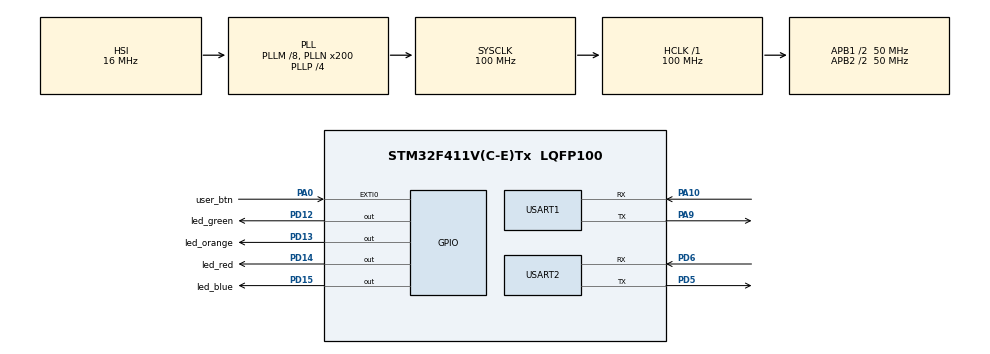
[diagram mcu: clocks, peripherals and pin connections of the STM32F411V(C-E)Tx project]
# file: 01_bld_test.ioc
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Mcu.Family=STM32F4
Mcu.Name=STM32F411V(C-E)Tx
Mcu.Package=LQFP100
NVIC.EXTI0_IRQn=true\:0\:0\:false\:true\:true\:1\:true\:true
NVIC.PriorityGroup=NVIC_PRIORITYGROUP_0
NVIC.RCC_IRQn=true\:0\:0\:false\:false\:true\:true\:false
PA0-WKUP.GPIO_Label=user_btn
PA0-WKUP.GPIO_ModeDefaultEXTI=GPIO_MODE_IT_FALLING
PA0-WKUP.Signal=GPXTI0
PA10.Mode=Asynchronous
PA10.Signal=USART1_RX
PA9.Mode=Asynchronous
PA9.Signal=USART1_TX
PD12.GPIO_Label=led_green
PD12.GPIO_Speed=GPIO_SPEED_FREQ_HIGH
PD12.Signal=GPIO_Output
PD13.GPIO_Label=led_orange
PD13.GPIO_Speed=GPIO_SPEED_FREQ_HIGH
PD13.Signal=GPIO_Output
PD14.GPIO_Label=led_red
PD14.GPIO_Speed=GPIO_SPEED_FREQ_HIGH
PD14.Signal=GPIO_Output
PD15.GPIO_Label=led_blue
PD15.GPIO_Speed=GPIO_SPEED_FREQ_HIGH
PD15.Signal=GPIO_Output
PD5.Mode=Asynchronous
PD5.Signal=USART2_TX
PD6.Mode=Asynchronous
PD6.Signal=USART2_RX
ProjectManager.HeapSize=0x200
ProjectManager.StackSize=0x400
ProjectManager.TargetToolchain=STM32CubeIDE
RCC.48MHZClocksFreq_Value=50000000
RCC.AHBFreq_Value=100000000
RCC.APB1CLKDivider=RCC_HCLK_DIV2
RCC.APB1Freq_Value=50000000
RCC.APB1TimFreq_Value=100000000
RCC.APB2CLKDivider=RCC_HCLK_DIV2
RCC.APB2Freq_Value=50000000
RCC.APB2TimFreq_Value=100000000
RCC.CortexFreq_Value=100000000
RCC.HCLKFreq_Value=100000000
RCC.HSE_VALUE=8000000
RCC.HSI_VALUE=16000000
RCC.LSE_VALUE=32768
RCC.PLLI2SM=5
RCC.PLLI2SN=200
RCC.PLLM=8
RCC.PLLN=200
RCC.PLLP=RCC_PLLP_DIV4
RCC.PLLQ=8
RCC.SYSCLKFreq_VALUE=100000000
RCC.SYSCLKSource=RCC_SYSCLKSOURCE_PLLCLK
RCC.VCOOutputFreq_Value=400000000
USART1.VirtualMode=VM_ASYNC
USART2.VirtualMode=VM_ASYNC
VP_CRC_VS_CRC.Mode=CRC_Activate
board=STM32F411E-DISCO

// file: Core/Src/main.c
/* USER CODE BEGIN Header */
/**
 ******************************************************************************
 * @file           : main.c
 * @brief          : Main program body
 ******************************************************************************
 * @attention
 *
 * Copyright (c) 2023 STMicroelectronics.
 * All rights reserved.
 *
 * This software is licensed under terms that can be found in the LICENSE file
 * in the root directory of this software component.
 * If no LICENSE file comes with this software, it is provided AS-IS.
 *
 ******************************************************************************
 */
/* USER CODE END Header */
#include "main.h"

/* USER CODE BEGIN Includes */
#include <stdarg.h>
#include <string.h>
#include <stdint.h>
#include <stdio.h>
/* USER CODE END Includes */

CRC_HandleTypeDef hcrc;

UART_HandleTypeDef huart1;
UART_HandleTypeDef huart2;

/* USER CODE BEGIN PV */
#define D_UART   &huart2
#define C_UART   &huart2

char pData[] = "this is a message from uart2\n\r";

//enable this line to get debug messages over debug uart
#define BL_DEBUG_MSG_EN

#define rc_data_length 200
uint8_t rc_data[rc_data_length];

#define BL_GET_VER 						0x51
#define BL_GET_HELP						0x52
#define BL_GET_CID						0x53
#define BL_GET_RDP_STATUS				0x54
#define BL_GO_TO_ADDR					0x55
#define BL_FLASH_ERASE					0x56
#define BBL_MEM_WRITE					0x57
#define BL_EN_R_W_PROTECT				0x58
#define BL_MEM_READ						0x59
#define BL_READ_SECTOR_STATUS			0x5A
#define BL_OTP_READ						0x5B
#define BL_DIS_R_W_PROTECT				0x5C

//#len details of the command
#define COMMAND_BL_GET_VER_LEN                              =6
#define COMMAND_BL_GET_HELP_LEN                             =6
#define COMMAND_BL_GET_CID_LEN                              =6
#define COMMAND_BL_GET_RDP_STATUS_LEN                       =6
#define COMMAND_BL_GO_TO_ADDR_LEN                           =10
#define COMMAND_BL_FLASH_ERASE_LEN                          =8
#define COMMAND_BL_MEM_WRITE_LEN                            =11
#define COMMAND_BL_EN_R_W_PROTECT_LEN                       =8
#define COMMAND_BL_READ_SECTOR_P_STATUS_LEN                 =6
#define COMMAND_BL_DIS_R_W_PROTECT_LEN                      =6
#define COMMAND_BL_MY_NEW_COMMAND_LEN                       =8

/*	CHECK CRC 	*/
#define CRC_CORRECT 	1
#define CRC_FAILED 		0

/* ACK and NACK bytes*/
#define BL_ACK   0XA5
#define BL_NACK  0X7F

//version 1.0
#define BL_VERSION 0x10

/* USER CODE END PV */

void SystemClock_Config(void);
static void MX_GPIO_Init(void);
static void MX_CRC_Init(void);
static void MX_USART2_UART_Init(void);
static void MX_USART1_UART_Init(void);
static void MX_NVIC_Init(void);
/* USER CODE BEGIN PFP */
static void printmsg(char *format, ...);
static void userMode(void);
static void bootloaderMode(void);

void BL_GET_VER_handler(void);
void BL_GET_HELP_handler(void);
void BL_GET_CID_handler(void);
void BL_GET_RDP_STATUS_handler(void);
void BL_GO_TO_ADDR_handler(void);
void BL_FLASH_ERASE_handler(void);
void BL_MEM_WRITE_handler(void);
void BL_EN_R_W_PROTECT_handler(void);
void BL_MEM_READ_handler(void);
void BL_READ_SECTOR_STATUS_handler(void);
void BL_OTP_READ_handler(void);
void BL_DIS_R_W_PROTECT_handler(void);

uint8_t checkCRC(uint8_t *pBuffer_data, uint8_t pBuffer_len_cmd,
		uint32_t CRC_host);

void send_Reply(uint8_t *pBuffer, uint8_t length);
void send_NACK(void);
void send_ACK(uint8_t length);
/* USER CODE END PFP */

int main(void)
{

  /* MCU Configuration--------------------------------------------------------*/

  /* Reset of all peripherals, Initializes the Flash interface and the Systick. */
  HAL_Init();

  /* Configure the system clock */
  SystemClock_Config();

  /* Initialize all configured peripherals */
  MX_GPIO_Init();
  MX_CRC_Init();
  MX_USART2_UART_Init();
  MX_USART1_UART_Init();

  /* Initialize interrupts */
  MX_NVIC_Init();

  /* Infinite loop */
	while (1) {

    /* USER CODE BEGIN 3 */

		/* Lets check whether button is pressed or not, if not pressed jump to user application */
		if (HAL_GPIO_ReadPin(GPIOA, user_btn_Pin) == 1) {
//			printmsg("BL_DEBUG_MSG:Button is pressed .. going to BL mode\n\r");
			HAL_GPIO_WritePin(GPIOD, led_blue_Pin, GPIO_PIN_SET);
			//we should continue in bootloader mode
			bootloaderMode();

		} else {
			printmsg(
					"BL_DEBUG_MSG:Button is not pressed .. executing user app\n\r");
			HAL_GPIO_WritePin(GPIOD, led_orange_Pin, GPIO_PIN_SET);

			//jump to user application
			userMode();

		}
	}
  /* USER CODE END 3 */
}

void SystemClock_Config(void)
{
  RCC_OscInitTypeDef RCC_OscInitStruct = {0};
  RCC_ClkInitTypeDef RCC_ClkInitStruct = {0};

  /** Configure the main internal regulator output voltage
  */
  __HAL_RCC_PWR_CLK_ENABLE();
  __HAL_PWR_VOLTAGESCALING_CONFIG(PWR_REGULATOR_VOLTAGE_SCALE1);
  /** Initializes the RCC Oscillators according to the specified parameters
  * in the RCC_OscInitTypeDef structure.
  */
  RCC_OscInitStruct.OscillatorType = RCC_OSCILLATORTYPE_HSI;
  RCC_OscInitStruct.HSIState = RCC_HSI_ON;
  RCC_OscInitStruct.HSICalibrationValue = RCC_HSICALIBRATION_DEFAULT;
  RCC_OscInitStruct.PLL.PLLState = RCC_PLL_ON;
  RCC_OscInitStruct.PLL.PLLSource = RCC_PLLSOURCE_HSI;
  RCC_OscInitStruct.PLL.PLLM = 8;
  RCC_OscInitStruct.PLL.PLLN = 200;
  RCC_OscInitStruct.PLL.PLLP = RCC_PLLP_DIV4;
  RCC_OscInitStruct.PLL.PLLQ = 8;
  if (HAL_RCC_OscConfig(&RCC_OscInitStruct) != HAL_OK)
  {
    Error_Handler();
  }
  /** Initializes the CPU, AHB and APB buses clocks
  */
  RCC_ClkInitStruct.ClockType = RCC_CLOCKTYPE_HCLK|RCC_CLOCKTYPE_SYSCLK
                              |RCC_CLOCKTYPE_PCLK1|RCC_CLOCKTYPE_PCLK2;
  RCC_ClkInitStruct.SYSCLKSource = RCC_SYSCLKSOURCE_PLLCLK;
  RCC_ClkInitStruct.AHBCLKDivider = RCC_SYSCLK_DIV1;
  RCC_ClkInitStruct.APB1CLKDivider = RCC_HCLK_DIV2;
  RCC_ClkInitStruct.APB2CLKDivider = RCC_HCLK_DIV2;

  if (HAL_RCC_ClockConfig(&RCC_ClkInitStruct, FLASH_LATENCY_3) != HAL_OK)
  {
    Error_Handler();
  }
}

/**
  * @brief NVIC Configuration.
  * @retval None
  */
static void MX_NVIC_Init(void)
{
  /* EXTI0_IRQn interrupt configuration */
  HAL_NVIC_SetPriority(EXTI0_IRQn, 0, 0);
  HAL_NVIC_EnableIRQ(EXTI0_IRQn);
}

static void MX_CRC_Init(void)
{

  hcrc.Instance = CRC;
  if (HAL_CRC_Init(&hcrc) != HAL_OK)
  {
    Error_Handler();
  }

}

static void MX_USART1_UART_Init(void)
{

  huart1.Instance = USART1;
  huart1.Init.BaudRate = 115200;
  huart1.Init.WordLength = UART_WORDLENGTH_8B;
  huart1.Init.StopBits = UART_STOPBITS_1;
  huart1.Init.Parity = UART_PARITY_NONE;
  huart1.Init.Mode = UART_MODE_TX_RX;
  huart1.Init.HwFlowCtl = UART_HWCONTROL_NONE;
  huart1.Init.OverSampling = UART_OVERSAMPLING_16;
  if (HAL_UART_Init(&huart1) != HAL_OK)
  {
    Error_Handler();
  }

}

static void MX_USART2_UART_Init(void)
{

  huart2.Instance = USART2;
  huart2.Init.BaudRate = 115200;
  huart2.Init.WordLength = UART_WORDLENGTH_8B;
  huart2.Init.StopBits = UART_STOPBITS_1;
  huart2.Init.Parity = UART_PARITY_NONE;
  huart2.Init.Mode = UART_MODE_TX_RX;
  huart2.Init.HwFlowCtl = UART_HWCONTROL_NONE;
  huart2.Init.OverSampling = UART_OVERSAMPLING_16;
  if (HAL_UART_Init(&huart2) != HAL_OK)
  {
    Error_Handler();
  }

}

static void MX_GPIO_Init(void)
{
  GPIO_InitTypeDef GPIO_InitStruct = {0};

  /* GPIO Ports Clock Enable */
  __HAL_RCC_GPIOA_CLK_ENABLE();
  __HAL_RCC_GPIOD_CLK_ENABLE();

  /*Configure GPIO pin Output Level */
  HAL_GPIO_WritePin(GPIOD, led_green_Pin|led_orange_Pin|led_red_Pin|led_blue_Pin, GPIO_PIN_RESET);

  /*Configure GPIO pin : user_btn_Pin */
  GPIO_InitStruct.Pin = user_btn_Pin;
  GPIO_InitStruct.Mode = GPIO_MODE_IT_FALLING;
  GPIO_InitStruct.Pull = GPIO_NOPULL;
  HAL_GPIO_Init(user_btn_GPIO_Port, &GPIO_InitStruct);

  /*Configure GPIO pins : led_green_Pin led_orange_Pin led_red_Pin led_blue_Pin */
  GPIO_InitStruct.Pin = led_green_Pin|led_orange_Pin|led_red_Pin|led_blue_Pin;
  GPIO_InitStruct.Mode = GPIO_MODE_OUTPUT_PP;
  GPIO_InitStruct.Pull = GPIO_NOPULL;
  GPIO_InitStruct.Speed = GPIO_SPEED_FREQ_HIGH;
  HAL_GPIO_Init(GPIOD, &GPIO_InitStruct);

}

/* USER CODE BEGIN 4 */

/* prints formatted string to console over UART */
void printmsg(char *format, ...) {
#ifdef BL_DEBUG_MSG_EN
	char str[80];

	/*Extract the the argument list using VA apis */
	va_list args;
	va_start(args, format);
	vsprintf(str, format, args);
	HAL_UART_Transmit(&huart2, (uint8_t*) str, strlen(str), HAL_MAX_DELAY);
	va_end(args);
#endif
}

void bootloaderMode(void) {

	uint8_t length_cmd = 0;
	while (1) {
		memset(rc_data, 0, rc_data_length);
		HAL_UART_Receive(&huart2, rc_data, 1, HAL_MAX_DELAY);
		length_cmd = rc_data[0];
		HAL_UART_Receive(&huart2, &rc_data[1], length_cmd, HAL_MAX_DELAY);

		switch (rc_data[1]) {
		case BL_GET_VER:
			BL_GET_VER_handler();
			break;
		case BL_GET_HELP:
			BL_GET_HELP_handler();
			break;
		case BL_GET_CID:
			BL_GET_CID_handler();
			break;
		case BL_GET_RDP_STATUS:
			BL_GET_RDP_STATUS_handler();
			break;
		case BL_GO_TO_ADDR:
			BL_GO_TO_ADDR_handler();
			break;
		case BL_FLASH_ERASE:
			BL_FLASH_ERASE_handler();
			break;
		case BBL_MEM_WRITE:
			BL_MEM_WRITE_handler();
			break;
		case BL_EN_R_W_PROTECT:
			BL_EN_R_W_PROTECT_handler();
			break;
		case BL_MEM_READ:
			BL_MEM_READ_handler();
			break;
		case BL_READ_SECTOR_STATUS:
			BL_READ_SECTOR_STATUS_handler();
			break;
		case BL_OTP_READ:
			BL_OTP_READ_handler();
			break;
		case BL_DIS_R_W_PROTECT:
			BL_DIS_R_W_PROTECT_handler();
			break;
		default:
			printmsg("invalid command!!!");
			break;
		}
	}
}

uint8_t checkCRC(uint8_t *pBuffer_data, uint8_t pBuffer_len_cmd,
		uint32_t CRC_host) {
	uint32_t value_CRC = 0;

	for (uint8_t var = 0; var <= (pBuffer_len_cmd - 4); ++var) {
		uint32_t value = pBuffer_data[var];
		value_CRC = HAL_CRC_Accumulate(&hcrc, &value, 1);
	}
	__HAL_CRC_DR_RESET(&hcrc);
	if (value_CRC == CRC_host)
		return CRC_CORRECT;
	return CRC_FAILED;
}

void send_ACK(uint8_t length) {
	uint8_t tx_buffer[2];
	tx_buffer[0] = BL_ACK;
	tx_buffer[1] = length;

	HAL_UART_Transmit(&huart2, tx_buffer, 2, HAL_MAX_DELAY);
}

void send_NACK(void) {
	uint8_t tx_buffer[1];
	tx_buffer[0] = BL_NACK;
	HAL_UART_Transmit(&huart2, tx_buffer, 1, HAL_MAX_DELAY);

}

void send_Reply(uint8_t *pBuffer, uint8_t length) {
	HAL_UART_Transmit(&huart2, pBuffer, length, HAL_MAX_DELAY);

}

void BL_GET_VER_handler(void) {

	uint32_t length_cmd = rc_data[0] + 1;
	uint32_t CRC_host = *((uint32_t*) (rc_data + length_cmd - 4));
	if (checkCRC(rc_data, rc_data[0], CRC_host)) {
		send_ACK(1);
		uint8_t bootloader_ver = BL_VERSION;
		send_Reply(&bootloader_ver, 1);

	} else {
		send_NACK();
	}
}

void BL_GET_HELP_handler(void) {
	uint32_t length_cmd = rc_data[0] + 1;
	uint32_t CRC_host = *((uint32_t*) (rc_data + length_cmd - 4));
	if (checkCRC(rc_data, rc_data[0], CRC_host)) {
		send_ACK(12);
		uint8_t all_cmd[] = { BL_GET_VER, BL_GET_HELP, BL_GET_CID,
		BL_GET_RDP_STATUS, BL_GO_TO_ADDR,
		BL_FLASH_ERASE, BBL_MEM_WRITE, BL_EN_R_W_PROTECT, BL_MEM_READ,
		BL_READ_SECTOR_STATUS,
		BL_OTP_READ, BL_DIS_R_W_PROTECT };
		send_Reply(all_cmd, sizeof(all_cmd));

	} else {
		send_NACK();
	}
}

void BL_GET_CID_handler(void) {

}

void BL_GET_RDP_STATUS_handler(void) {

}

void BL_GO_TO_ADDR_handler(void) {

}

void BL_FLASH_ERASE_handler(void) {

}

void BL_MEM_WRITE_handler(void) {

}

void BL_EN_R_W_PROTECT_handler(void) {

}

void BL_MEM_READ_handler(void) {

}

void BL_READ_SECTOR_STATUS_handler(void) {

}

void BL_OTP_READ_handler(void) {

}

void BL_DIS_R_W_PROTECT_handler(void) {

}

void userMode(void) {

	void (*reset_handler)(void);
	printmsg("bootloader_jump_to_user_app\n\r");

// 1. configure the MSP by reading the value from the base address of the sector 2
	uint32_t msp_value = *(volatile uint32_t*) FLASH_SECTOR2_BASE_ADDRESS;

	printmsg("BL_DEBUG_MSG:MSP value : %#x\n\r", msp_value);

//This function comes from CMSIS.
	__set_MSP(msp_value);

	/* 2. Now fetch the reset handler address of the user application
	 * from the location FLASH_SECTOR2_BASE_ADDRESS+4
	 */
	uint32_t resethandler_address =
			*(volatile uint32_t*) (FLASH_SECTOR2_BASE_ADDRESS + 4);

	reset_handler = (void*) resethandler_address;
	printmsg("app reset handler addr : %#x\n\r", reset_handler);

//3. jump to reset handler of the user application
	HAL_DeInit();
	reset_handler();

////just a function pointer to hold the address of the reset handler of the user app.
//	void (*app_reset_handler)(void);
//
//	printmsg("BL_DEBUG_MSG:bootloader_jump_to_user_app\n\r");
//
//	// 1. configure the MSP by reading the value from the base address of the sector 2
//	uint32_t msp_value = *(volatile uint32_t*) FLASH_SECTOR2_BASE_ADDRESS;
//	printmsg("BL_DEBUG_MSG:MSP value : %#x\n\r", msp_value);
//
//	//This function comes from CMSIS.
//	__set_MSP(msp_value);
//
//	//SCB->VTOR = FLASH_SECTOR1_BASE_ADDRESS;
//
//	/* 2. Now fetch the reset handler address of the user application
//	 * from the location FLASH_SECTOR2_BASE_ADDRESS+4
//	 */
//	uint32_t resethandler_address =
//			*(volatile uint32_t*) (FLASH_SECTOR2_BASE_ADDRESS + 4);
//
//	app_reset_handler = (void*) resethandler_address;
//
//	printmsg("BL_DEBUG_MSG: app reset handler addr : %#x\n\r", app_reset_handler);
//
//	//3. jump to reset handler of the user application
//	HAL_DeInit();
//	app_reset_handler();
}
/* USER CODE END 4 */

void Error_Handler(void)
{
	__disable_irq();
	while (1) {
	}
}
